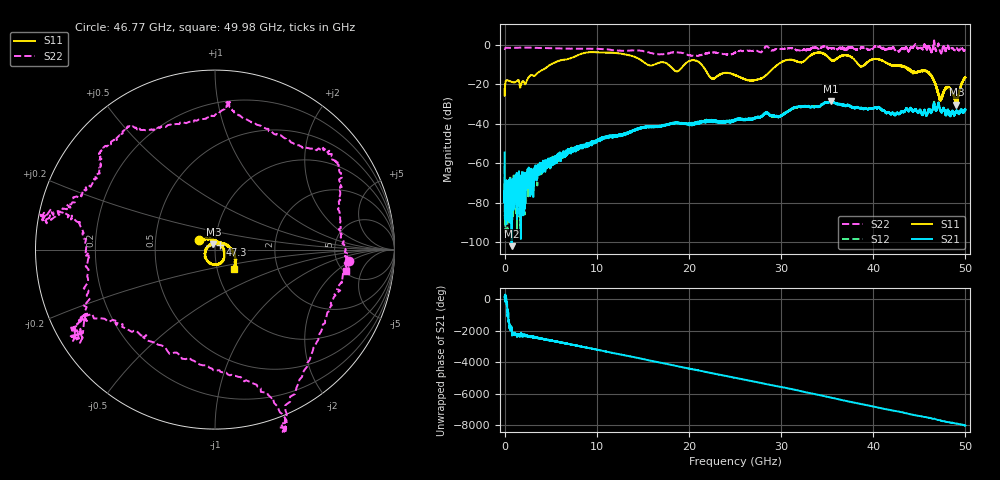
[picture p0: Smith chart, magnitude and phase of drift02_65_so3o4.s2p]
!Created with skrf (http://scikit-rf.org).
# Hz S RI R 50.0
!freq ReS11 ImS11 ReS21 ImS21 ReS12 ImS12 ReS22 ImS22
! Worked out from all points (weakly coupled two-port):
!   10001 points, 300 kHz to 50 GHz, reference 50 ohm
!   highest |S21| = -28.56 dB at 35.39 GHz (marker M1); lowest = -102.1 dB at 755.3 MHz (marker M2)
!   lowest |S11| = -30.3 dB at 49.02 GHz (marker M3), VSWR 1.06, Z = 49.1 + j2.87 ohm
!   |S11| at or under -10 dB: start of sweep to 4.956 GHz; 21.38 GHz to 29.63 GHz (8.249 GHz wide, 32.3 % of centre); 41.84 GHz to end of sweep (the widest 3 of 10)
!   |S22| runs from -5.7 to 2.3 dB; largest |S21 - S12| = 0.0038
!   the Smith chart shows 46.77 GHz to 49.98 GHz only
!   S11 on the Smith chart (normalised r, x): 46.77 GHz: 0.83, +0.09; 47.3 GHz: 1.06, +0.05; 49.98 GHz: 1.20, -0.27
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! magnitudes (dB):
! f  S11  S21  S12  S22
! 300 kHz  -22.4  -54.5  -61.8  -2.0
! 255.3 MHz  -17.9  -79.0  -72.8  -1.4
! 755.3 MHz  -18.7  -102.1  -76.0  -1.5
! 1.875 GHz  -19.1  -80.6  -71.0  -1.3
! 8.335 GHz  -4.5  -51.5  -52.0  -1.9
! 16.67 GHz  -9.1  -41.2  -41.4  -4.7
! 18.7 GHz  -13.5  -39.5  -39.4  -3.7
! 20.6 GHz  -7.7  -39.8  -39.5  -5.7
! 22.51 GHz  -17.1  -38.2  -38.5  -3.7
! 25 GHz  -15.3  -38.2  -38.3  -3.9
! 27.47 GHz  -17.6  -36.8  -36.7  -3.2
! 30.22 GHz  -8.4  -35.3  -35.1  -2.1
! 33.34 GHz  -4.9  -31.2  -31.3  -1.6
! 35.39 GHz  -7.4  -28.6  -28.7  -1.5
! 41.67 GHz  -9.7  -34.0  -34.2  -1.9
! 45.79 GHz  -13.5  -35.5  -35.7  -2.3
! 46.77 GHz  -19.7  -33.0  -33.0  -2.5
! 47.3 GHz  -28.4  -33.2  -33.4  -3.6
! 48.13 GHz  -21.5  -32.8  -33.3  -0.6
! 49.02 GHz  -30.3  -33.9  -33.7  -2.0
! 49.98 GHz  -16.4  -33.3  -32.8  -2.6
! 50 GHz  -16.4  -32.8  -32.6  -2.7
